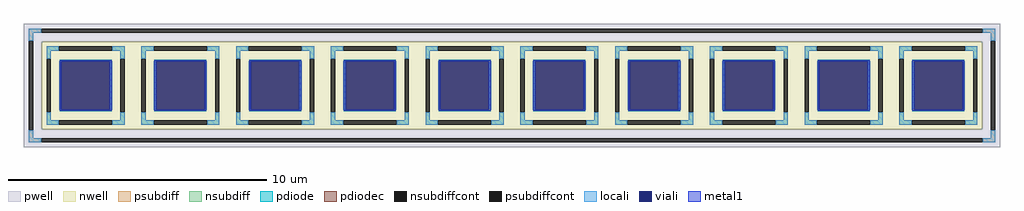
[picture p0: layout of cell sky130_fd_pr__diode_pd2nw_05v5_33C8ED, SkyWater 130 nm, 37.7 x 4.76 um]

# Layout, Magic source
magic
tech sky130A
<< nwell >>
rect -1816 -169 1816 169
<< pwell >>
rect -1885 169 1885 238
rect -1885 -169 -1816 169
rect 1816 -169 1885 169
rect -1885 -238 1885 -169
<< psubdiff >>
rect -1867 203 -1819 220
rect 1819 203 1867 220
rect -1867 172 -1850 203
rect 1850 172 1867 203
rect -1867 -203 -1850 -172
rect 1850 -203 1867 -172
rect -1867 -220 -1819 -203
rect 1819 -220 1867 -203
<< nsubdiff >>
rect -1798 134 -1750 151
rect -1544 134 -1496 151
rect -1798 103 -1781 134
rect -1513 103 -1496 134
rect -1798 -134 -1781 -103
rect -1513 -134 -1496 -103
rect -1798 -151 -1750 -134
rect -1544 -151 -1496 -134
rect -1432 134 -1384 151
rect -1178 134 -1130 151
rect -1432 103 -1415 134
rect -1147 103 -1130 134
rect -1432 -134 -1415 -103
rect -1147 -134 -1130 -103
rect -1432 -151 -1384 -134
rect -1178 -151 -1130 -134
rect -1066 134 -1018 151
rect -812 134 -764 151
rect -1066 103 -1049 134
rect -781 103 -764 134
rect -1066 -134 -1049 -103
rect -781 -134 -764 -103
rect -1066 -151 -1018 -134
rect -812 -151 -764 -134
rect -700 134 -652 151
rect -446 134 -398 151
rect -700 103 -683 134
rect -415 103 -398 134
rect -700 -134 -683 -103
rect -415 -134 -398 -103
rect -700 -151 -652 -134
rect -446 -151 -398 -134
rect -334 134 -286 151
rect -80 134 -32 151
rect -334 103 -317 134
rect -49 103 -32 134
rect -334 -134 -317 -103
rect -49 -134 -32 -103
rect -334 -151 -286 -134
rect -80 -151 -32 -134
rect 32 134 80 151
rect 286 134 334 151
rect 32 103 49 134
rect 317 103 334 134
rect 32 -134 49 -103
rect 317 -134 334 -103
rect 32 -151 80 -134
rect 286 -151 334 -134
rect 398 134 446 151
rect 652 134 700 151
rect 398 103 415 134
rect 683 103 700 134
rect 398 -134 415 -103
rect 683 -134 700 -103
rect 398 -151 446 -134
rect 652 -151 700 -134
rect 764 134 812 151
rect 1018 134 1066 151
rect 764 103 781 134
rect 1049 103 1066 134
rect 764 -134 781 -103
rect 1049 -134 1066 -103
rect 764 -151 812 -134
rect 1018 -151 1066 -134
rect 1130 134 1178 151
rect 1384 134 1432 151
rect 1130 103 1147 134
rect 1415 103 1432 134
rect 1130 -134 1147 -103
rect 1415 -134 1432 -103
rect 1130 -151 1178 -134
rect 1384 -151 1432 -134
rect 1496 134 1544 151
rect 1750 134 1798 151
rect 1496 103 1513 134
rect 1781 103 1798 134
rect 1496 -134 1513 -103
rect 1781 -134 1798 -103
rect 1496 -151 1544 -134
rect 1750 -151 1798 -134
<< psubdiffcont >>
rect -1819 203 1819 220
rect -1867 -172 -1850 172
rect 1850 -172 1867 172
rect -1819 -220 1819 -203
<< nsubdiffcont >>
rect -1750 134 -1544 151
rect -1798 -103 -1781 103
rect -1513 -103 -1496 103
rect -1750 -151 -1544 -134
rect -1384 134 -1178 151
rect -1432 -103 -1415 103
rect -1147 -103 -1130 103
rect -1384 -151 -1178 -134
rect -1018 134 -812 151
rect -1066 -103 -1049 103
rect -781 -103 -764 103
rect -1018 -151 -812 -134
rect -652 134 -446 151
rect -700 -103 -683 103
rect -415 -103 -398 103
rect -652 -151 -446 -134
rect -286 134 -80 151
rect -334 -103 -317 103
rect -49 -103 -32 103
rect -286 -151 -80 -134
rect 80 134 286 151
rect 32 -103 49 103
rect 317 -103 334 103
rect 80 -151 286 -134
rect 446 134 652 151
rect 398 -103 415 103
rect 683 -103 700 103
rect 446 -151 652 -134
rect 812 134 1018 151
rect 764 -103 781 103
rect 1049 -103 1066 103
rect 812 -151 1018 -134
rect 1178 134 1384 151
rect 1130 -103 1147 103
rect 1415 -103 1432 103
rect 1178 -151 1384 -134
rect 1544 134 1750 151
rect 1496 -103 1513 103
rect 1781 -103 1798 103
rect 1544 -151 1750 -134
<< pdiode >>
rect -1747 94 -1547 100
rect -1747 -94 -1741 94
rect -1553 -94 -1547 94
rect -1747 -100 -1547 -94
rect -1381 94 -1181 100
rect -1381 -94 -1375 94
rect -1187 -94 -1181 94
rect -1381 -100 -1181 -94
rect -1015 94 -815 100
rect -1015 -94 -1009 94
rect -821 -94 -815 94
rect -1015 -100 -815 -94
rect -649 94 -449 100
rect -649 -94 -643 94
rect -455 -94 -449 94
rect -649 -100 -449 -94
rect -283 94 -83 100
rect -283 -94 -277 94
rect -89 -94 -83 94
rect -283 -100 -83 -94
rect 83 94 283 100
rect 83 -94 89 94
rect 277 -94 283 94
rect 83 -100 283 -94
rect 449 94 649 100
rect 449 -94 455 94
rect 643 -94 649 94
rect 449 -100 649 -94
rect 815 94 1015 100
rect 815 -94 821 94
rect 1009 -94 1015 94
rect 815 -100 1015 -94
rect 1181 94 1381 100
rect 1181 -94 1187 94
rect 1375 -94 1381 94
rect 1181 -100 1381 -94
rect 1547 94 1747 100
rect 1547 -94 1553 94
rect 1741 -94 1747 94
rect 1547 -100 1747 -94
<< pdiodec >>
rect -1741 -94 -1553 94
rect -1375 -94 -1187 94
rect -1009 -94 -821 94
rect -643 -94 -455 94
rect -277 -94 -89 94
rect 89 -94 277 94
rect 455 -94 643 94
rect 821 -94 1009 94
rect 1187 -94 1375 94
rect 1553 -94 1741 94
<< locali >>
rect -1867 203 -1819 220
rect 1819 203 1867 220
rect -1867 172 -1850 203
rect 1850 172 1867 203
rect -1798 134 -1750 151
rect -1544 134 -1496 151
rect -1798 103 -1781 134
rect -1513 103 -1496 134
rect -1749 -94 -1741 94
rect -1553 -94 -1545 94
rect -1798 -134 -1781 -103
rect -1513 -134 -1496 -103
rect -1798 -151 -1750 -134
rect -1544 -151 -1496 -134
rect -1432 134 -1384 151
rect -1178 134 -1130 151
rect -1432 103 -1415 134
rect -1147 103 -1130 134
rect -1383 -94 -1375 94
rect -1187 -94 -1179 94
rect -1432 -134 -1415 -103
rect -1147 -134 -1130 -103
rect -1432 -151 -1384 -134
rect -1178 -151 -1130 -134
rect -1066 134 -1018 151
rect -812 134 -764 151
rect -1066 103 -1049 134
rect -781 103 -764 134
rect -1017 -94 -1009 94
rect -821 -94 -813 94
rect -1066 -134 -1049 -103
rect -781 -134 -764 -103
rect -1066 -151 -1018 -134
rect -812 -151 -764 -134
rect -700 134 -652 151
rect -446 134 -398 151
rect -700 103 -683 134
rect -415 103 -398 134
rect -651 -94 -643 94
rect -455 -94 -447 94
rect -700 -134 -683 -103
rect -415 -134 -398 -103
rect -700 -151 -652 -134
rect -446 -151 -398 -134
rect -334 134 -286 151
rect -80 134 -32 151
rect -334 103 -317 134
rect -49 103 -32 134
rect -285 -94 -277 94
rect -89 -94 -81 94
rect -334 -134 -317 -103
rect -49 -134 -32 -103
rect -334 -151 -286 -134
rect -80 -151 -32 -134
rect 32 134 80 151
rect 286 134 334 151
rect 32 103 49 134
rect 317 103 334 134
rect 81 -94 89 94
rect 277 -94 285 94
rect 32 -134 49 -103
rect 317 -134 334 -103
rect 32 -151 80 -134
rect 286 -151 334 -134
rect 398 134 446 151
rect 652 134 700 151
rect 398 103 415 134
rect 683 103 700 134
rect 447 -94 455 94
rect 643 -94 651 94
rect 398 -134 415 -103
rect 683 -134 700 -103
rect 398 -151 446 -134
rect 652 -151 700 -134
rect 764 134 812 151
rect 1018 134 1066 151
rect 764 103 781 134
rect 1049 103 1066 134
rect 813 -94 821 94
rect 1009 -94 1017 94
rect 764 -134 781 -103
rect 1049 -134 1066 -103
rect 764 -151 812 -134
rect 1018 -151 1066 -134
rect 1130 134 1178 151
rect 1384 134 1432 151
rect 1130 103 1147 134
rect 1415 103 1432 134
rect 1179 -94 1187 94
rect 1375 -94 1383 94
rect 1130 -134 1147 -103
rect 1415 -134 1432 -103
rect 1130 -151 1178 -134
rect 1384 -151 1432 -134
rect 1496 134 1544 151
rect 1750 134 1798 151
rect 1496 103 1513 134
rect 1781 103 1798 134
rect 1545 -94 1553 94
rect 1741 -94 1749 94
rect 1496 -134 1513 -103
rect 1781 -134 1798 -103
rect 1496 -151 1544 -134
rect 1750 -151 1798 -134
rect -1867 -203 -1850 -172
rect 1850 -203 1867 -172
rect -1867 -220 -1819 -203
rect 1819 -220 1867 -203
<< viali >>
rect -1741 -94 -1553 94
rect -1375 -94 -1187 94
rect -1009 -94 -821 94
rect -643 -94 -455 94
rect -277 -94 -89 94
rect 89 -94 277 94
rect 455 -94 643 94
rect 821 -94 1009 94
rect 1187 -94 1375 94
rect 1553 -94 1741 94
<< metal1 >>
rect -1747 94 -1547 97
rect -1747 -94 -1741 94
rect -1553 -94 -1547 94
rect -1747 -97 -1547 -94
rect -1381 94 -1181 97
rect -1381 -94 -1375 94
rect -1187 -94 -1181 94
rect -1381 -97 -1181 -94
rect -1015 94 -815 97
rect -1015 -94 -1009 94
rect -821 -94 -815 94
rect -1015 -97 -815 -94
rect -649 94 -449 97
rect -649 -94 -643 94
rect -455 -94 -449 94
rect -649 -97 -449 -94
rect -283 94 -83 97
rect -283 -94 -277 94
rect -89 -94 -83 94
rect -283 -97 -83 -94
rect 83 94 283 97
rect 83 -94 89 94
rect 277 -94 283 94
rect 83 -97 283 -94
rect 449 94 649 97
rect 449 -94 455 94
rect 643 -94 649 94
rect 449 -97 649 -94
rect 815 94 1015 97
rect 815 -94 821 94
rect 1009 -94 1015 94
rect 815 -97 1015 -94
rect 1181 94 1381 97
rect 1181 -94 1187 94
rect 1375 -94 1381 94
rect 1181 -97 1381 -94
rect 1547 94 1747 97
rect 1547 -94 1553 94
rect 1741 -94 1747 94
rect 1547 -97 1747 -94
<< properties >>
string FIXED_BBOX 1504 -142 1789 142
string gencell sky130_fd_pr__diode_pd2nw_05v5
string library sky130
string parameters w 2 l 2 area 4.0 peri 8.0 nx 10 ny 1 dummy 0 lmin 0.45 wmin 0.45 elc 1 erc 1 etc 1 ebc 1 glc 1 grc 1 gtc 1 gbc 1 doverlap 0 compatible {sky130_fd_pr__diode_pd2nw_05v5 sky130_fd_pr__diode_pd2nw_05v5_lvt  sky130_fd_pr__diode_pd2nw_05v5_hvt sky130_fd_pr__diode_pd2nw_11v0} full_metal 1 vias 1 viagb 0 viagt 0 viagl 0 viagr 0
<< end >>
